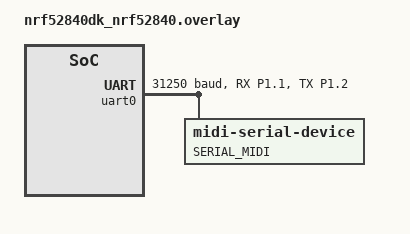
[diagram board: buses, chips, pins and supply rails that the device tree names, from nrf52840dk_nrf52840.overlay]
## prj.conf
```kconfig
# Enable the UART driver
CONFIG_UART_ASYNC_API=y
CONFIG_NRFX_UARTE0=y
CONFIG_SERIAL=y

CONFIG_GPIO=y

# Make sure printk is not printing to the UART console
CONFIG_CONSOLE=y
CONFIG_UART_CONSOLE=y


CONFIG_HEAP_MEM_POOL_SIZE=2048


CONFIG_BT=y
CONFIG_BT_ISO_SYNC_RECEIVER=y
CONFIG_LOG=y
CONFIG_BT_DEVICE_NAME="Test ISO Receive"

CONFIG_BT_ISO_MAX_CHAN=2


CONFIG_BT_CTLR_SYNC_ISO=y
CONFIG_BT_CTLR_SYNC_ISO_PDU_LEN_MAX=251
CONFIG_BT_CTLR_SYNC_ISO_STREAM_MAX=2
CONFIG_BT_CTLR_ISOAL_SINKS=2
CONFIG_BT_LL_SW_SPLIT=y

# This example requires more workqueue stack
CONFIG_SYSTEM_WORKQUEUE_STACK_SIZE=4096

# Config logger
CONFIG_LOG=y
CONFIG_USE_SEGGER_RTT=y
CONFIG_LOG_BACKEND_RTT=y
CONFIG_LOG_BACKEND_UART=n

CONFIG_MIDI=y
CONFIG_MIDI_SERIAL=y
CONFIG_MIDI_PARSER=y
```

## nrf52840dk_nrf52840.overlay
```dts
&pinctrl {
	uart0_default: uart0_default {
		group1 {
			psels = <NRF_PSEL(UART_RX, 1, 1)>;
			bias-pull-up;
		};
		group2 {
			psels = <NRF_PSEL(UART_TX, 1, 2)>;
		};
	};

	uart0_sleep: uart0_sleep {
		group1 {
			psels = <NRF_PSEL(UART_RX, 1, 1)>,
				<NRF_PSEL(UART_TX, 1, 2)>;
			low-power-enable;
		};
	};
};

&uart0 {
	current-speed = <31250>;
    pinctrl-0 = <&uart0_default>;
	pinctrl-1 = <&uart0_sleep>;
    midi_serial_device {
        label = "SERIAL_MIDI";
		compatible = "midi-serial-device";
        midi_serial_in_device{
            compatible = "midi-serial-in-device";
            label = "SERIAL_MIDI_IN";
        };
    
        midi_serial_out_device{
            compatible = "midi-serial-out-device";
            label = "SERIAL_MIDI_OUT";
            handle-timestamps;
        };
    };

};
```

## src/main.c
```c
/*
 * Copyright (c) 2021 Nordic Semiconductor ASA
 *
 * SPDX-License-Identifier: Apache-2.0
 */

#include <zephyr/device.h>
#include <zephyr/devicetree.h>
#include <zephyr/drivers/gpio.h>
#include <zephyr/bluetooth/bluetooth.h>
#include <zephyr/bluetooth/conn.h>
#include <zephyr/bluetooth/iso.h>
#include <zephyr/sys/byteorder.h>

#include <midi/midi.h>
#include <midi/midi_parser.h>

#include <zephyr/logging/log.h>

#define LOG_MODULE_NAME iso_receive_midi
LOG_MODULE_REGISTER(LOG_MODULE_NAME);

#define TIMEOUT_SYNC_CREATE K_SECONDS(10)
#define NAME_LEN            30

#define BT_LE_SCAN_CUSTOM BT_LE_SCAN_PARAM(BT_LE_SCAN_TYPE_ACTIVE, \
					   BT_LE_SCAN_OPT_NONE, \
					   BT_GAP_SCAN_FAST_INTERVAL, \
					   BT_GAP_SCAN_FAST_WINDOW)

#define PA_RETRY_COUNT 6

#define BIS_ISO_CHAN_COUNT 2

static bool         per_adv_found;
static bool         per_adv_lost;
static bt_addr_le_t per_addr;
static uint8_t      per_sid;
static uint32_t     per_interval_us;

static uint32_t     iso_recv_count;

static K_SEM_DEFINE(sem_per_adv, 0, 1);
static K_SEM_DEFINE(sem_per_sync, 0, 1);
static K_SEM_DEFINE(sem_per_sync_lost, 0, 1);
static K_SEM_DEFINE(sem_per_big_info, 0, 1);
static K_SEM_DEFINE(sem_big_sync, 0, BIS_ISO_CHAN_COUNT);
static K_SEM_DEFINE(sem_big_sync_lost, 0, BIS_ISO_CHAN_COUNT);

const struct device *serial_midi_out_dev;

DEFINE_MIDI_PARSER_SERIAL(serial_parser);

/* The devicetree node identifier for the "led0" alias. */
#define LED0_NODE DT_ALIAS(led0)

#if DT_NODE_HAS_STATUS(LED0_NODE, okay)
static const struct gpio_dt_spec led_gpio = GPIO_DT_SPEC_GET(LED0_NODE, gpios);
#define HAS_LED     1
#define BLINK_ONOFF K_MSEC(500)

static struct k_work_delayable blink_work;
static bool                    led_is_on;
static bool                    blink;

static void blink_timeout(struct k_work *work)
{
	if (!blink) {
		return;
	}

	led_is_on = !led_is_on;
	gpio_pin_set_dt(&led_gpio, (int)led_is_on);

	k_work_schedule(&blink_work, BLINK_ONOFF);
}
#endif


static int midi_serial_sent(const struct device *dev,
			  midi_msg_t *msg,
			  void *user_data)
{
	LOG_INF("MIDI SERIAL sent!");
	
	midi_msg_unref(msg);

	return 0;
}

static bool data_cb(struct bt_data *data, void *user_data)
{
	char *name = user_data;
	uint8_t len;

	switch (data->type) {
	case BT_DATA_NAME_SHORTENED:
	case BT_DATA_NAME_COMPLETE:
		len = MIN(data->data_len, NAME_LEN - 1);
		memcpy(name, data->data, len);
		name[len] = '\0';
		return false;
	default:
		return true;
	}
}

static const char *phy2str(uint8_t phy)
{
	switch (phy) {
	case 0: return "No packets";
	case BT_GAP_LE_PHY_1M: return "LE 1M";
	case BT_GAP_LE_PHY_2M: return "LE 2M";
	case BT_GAP_LE_PHY_CODED: return "LE Coded";
	default: return "Unknown";
	}
}

static void scan_recv(const struct bt_le_scan_recv_info *info,
		      struct net_buf_simple *buf)
{
	char le_addr[BT_ADDR_LE_STR_LEN];
	char name[NAME_LEN];

	(void)memset(name, 0, sizeof(name));

	bt_data_parse(buf, data_cb, name);

	bt_addr_le_to_str(info->addr, le_addr, sizeof(le_addr));
	LOG_INF("[DEVICE]: %s, AD evt type %u, Tx Pwr: %i, RSSI %i %s "
	       "C:%u S:%u D:%u SR:%u E:%u Prim: %s, Secn: %s, "
	       "Interval: 0x%04x (%u us), SID: %u\n",
	       le_addr, info->adv_type, info->tx_power, info->rssi, name,
	       (info->adv_props & BT_GAP_ADV_PROP_CONNECTABLE) != 0,
	       (info->adv_props & BT_GAP_ADV_PROP_SCANNABLE) != 0,
	       (info->adv_props & BT_GAP_ADV_PROP_DIRECTED) != 0,
	       (info->adv_props & BT_GAP_ADV_PROP_SCAN_RESPONSE) != 0,
	       (info->adv_props & BT_GAP_ADV_PROP_EXT_ADV) != 0,
	       phy2str(info->primary_phy), phy2str(info->secondary_phy),
	       info->interval, BT_CONN_INTERVAL_TO_US(info->interval), info->sid);

	if (!per_adv_found && info->interval) {
		per_adv_found = true;

		per_sid = info->sid;
		per_interval_us = BT_CONN_INTERVAL_TO_US(info->interval);
		bt_addr_le_copy(&per_addr, info->addr);

		k_sem_give(&sem_per_adv);
	}
}

static struct bt_le_scan_cb scan_callbacks = {
	.recv = scan_recv,
};

static void sync_cb(struct bt_le_per_adv_sync *sync,
		    struct bt_le_per_adv_sync_synced_info *info)
{
	char le_addr[BT_ADDR_LE_STR_LEN];

	bt_addr_le_to_str(info->addr, le_addr, sizeof(le_addr));

	LOG_INF("PER_ADV_SYNC[%u]: [DEVICE]: %s synced, "
	       "Interval 0x%04x (%u ms), PHY %s\n",
	       bt_le_per_adv_sync_get_index(sync), le_addr,
	       info->interval, info->interval * 5 / 4, phy2str(info->phy));

	k_sem_give(&sem_per_sync);
}

static void term_cb(struct bt_le_per_adv_sync *sync,
		    const struct bt_le_per_adv_sync_term_info *info)
{
	char le_addr[BT_ADDR_LE_STR_LEN];

	bt_addr_le_to_str(info->addr, le_addr, sizeof(le_addr));

	LOG_INF("PER_ADV_SYNC[%u]: [DEVICE]: %s sync terminated\n",
	       bt_le_per_adv_sync_get_index(sync), le_addr);

	per_adv_lost = true;
	k_sem_give(&sem_per_sync_lost);
}

static void recv_cb(struct bt_le_per_adv_sync *sync,
		    const struct bt_le_per_adv_sync_recv_info *info,
		    struct net_buf_simple *buf)
{
	char le_addr[BT_ADDR_LE_STR_LEN];
	char data_str[129];

	bt_addr_le_to_str(info->addr, le_addr, sizeof(le_addr));
	bin2hex(buf->data, buf->len, data_str, sizeof(data_str));

	LOG_INF("PER_ADV_SYNC[%u]: [DEVICE]: %s, tx_power %i, "
	       "RSSI %i, CTE %u, data length %u, data: %s\n",
	       bt_le_per_adv_sync_get_index(sync), le_addr, info->tx_power,
	       info->rssi, info->cte_type, buf->len, data_str);
}

static void biginfo_cb(struct bt_le_per_adv_sync *sync,
		       const struct bt_iso_biginfo *biginfo)
{
	char le_addr[BT_ADDR_LE_STR_LEN];

	bt_addr_le_to_str(biginfo->addr, le_addr, sizeof(le_addr));

	LOG_INF("BIG INFO[%u]: [DEVICE]: %s, sid 0x%02x, "
	       "num_bis %u, nse %u, interval 0x%04x (%u ms), "
	       "bn %u, pto %u, irc %u, max_pdu %u, "
	       "sdu_interval %u us, max_sdu %u, phy %s, "
	       "%s framing, %sencrypted\n",
	       bt_le_per_adv_sync_get_index(sync), le_addr, biginfo->sid,
	       biginfo->num_bis, biginfo->sub_evt_count,
	       biginfo->iso_interval,
	       (biginfo->iso_interval * 5 / 4),
	       biginfo->burst_number, biginfo->offset,
	       biginfo->rep_count, biginfo->max_pdu, biginfo->sdu_interval,
	       biginfo->max_sdu, phy2str(biginfo->phy),
	       biginfo->framing ? "with" : "without",
	       biginfo->encryption ? "" : "not ");


	k_sem_give(&sem_per_big_info);
}

static struct bt_le_per_adv_sync_cb sync_callbacks = {
	.synced = sync_cb,
	.term = term_cb,
	.recv = recv_cb,
	.biginfo = biginfo_cb,
};

static void iso_recv(struct bt_iso_chan *chan, const struct bt_iso_recv_info *info,
		struct net_buf *buf)
{
	char data_str[128];
	size_t str_len;
	uint32_t count = 0; /* only valid if the data is a counter */
	midi_msg_t * serial_msg;
	midi_msg_t * parsed_msg;
	// if (buf->len == sizeof(count)) {
	// 	count = sys_get_le32(buf->data);
	// 	if (IS_ENABLED(CONFIG_ISO_ALIGN_PRINT_INTERVALS)) {
	// 		iso_recv_count = count;
	// 	}
	// }

	// if ((iso_recv_count % CONFIG_ISO_PRINT_INTERVAL) == 0) {
	// 	str_len = bin2hex(buf->data, buf->len, data_str, sizeof(data_str));
	// 	LOG_INF("Incoming data channel %p flags 0x%x seq_num %u ts %u len %u: "
	// 	       "%s (counter value %u)\n", chan, info->flags, info->seq_num,
	// 	       info->ts, buf->len, data_str, count);
	// }
	LOG_HEXDUMP_INF(buf->data, buf->len, "data");
	for (size_t i = 0; i < buf->len; i++)
	{	
		serial_msg = midi_msg_alloc(NULL, 1);
		memcpy(serial_msg->data, (void*)(buf->data + i), 1);
		serial_msg->format = MIDI_FORMAT_1_0_SERIAL;
		serial_msg->len = 1;
		
		// serial_msg = midi_msg_alloc(serial_msg, 1);
		// memcpy(serail_msg->data, (void*)(buf->data + i), 1);
		LOG_INF("serial byte: %d", *serial_msg->data); 	
		parsed_msg = midi_parse_serial(serial_msg, &serial_parser);
		midi_msg_unref(serial_msg);
		if (parsed_msg)
		{
			midi_send(serial_midi_out_dev, parsed_msg);
			parsed_msg = NULL;
		}
	}
	
	iso_recv_count++;
}

static void iso_connected(struct bt_iso_chan *chan)
{
	LOG_INF("ISO Channel %p connected\n", chan);
	k_sem_give(&sem_big_sync);
}

static void iso_disconnected(struct bt_iso_chan *chan, uint8_t reason)
{
	LOG_INF("ISO Channel %p disconnected with reason 0x%02x\n",
	       chan, reason);

	if (reason != BT_HCI_ERR_OP_CANCELLED_BY_HOST) {
		k_sem_give(&sem_big_sync_lost);
	}
}

static struct bt_iso_chan_ops iso_ops = {
	.recv		= iso_recv,
	.connected	= iso_connected,
	.disconnected	= iso_disconnected,
};

static struct bt_iso_chan_io_qos iso_rx_qos[BIS_ISO_CHAN_COUNT];

static struct bt_iso_chan_qos bis_iso_qos[] = {
	{ .rx = &iso_rx_qos[0], },
	{ .rx = &iso_rx_qos[1], },
};

static struct bt_iso_chan bis_iso_chan[] = {
	{ .ops = &iso_ops,
	  .qos = &bis_iso_qos[0], },
	{ .ops = &iso_ops,
	  .qos = &bis_iso_qos[1], },
};

static struct bt_iso_chan *bis[] = {
	&bis_iso_chan[0],
	&bis_iso_chan[1],
};

static struct bt_iso_big_sync_param big_sync_param = {
	.bis_channels = bis,
	.num_bis = BIS_ISO_CHAN_COUNT,
	.bis_bitfield = (BIT_MASK(BIS_ISO_CHAN_COUNT) << 1),
	.mse = 1,
	.sync_timeout = 100, /* in 10 ms units */
};


const struct device * get_port(const char* name, 
			midi_transfer cb, void *user_data)
{
	int err;
	const struct device * dev;
	dev = device_get_binding(name);
	if (!dev) {
		LOG_ERR("Can not get device: %s", name);
	}
	err = midi_callback_set(dev, cb, user_data);
	if (err != 0) {
		LOG_ERR("Can not set callbacks for device: %s", name);
	}
	return dev;
}

int main(void)
{
	struct bt_le_per_adv_sync_param sync_create_param;
	struct bt_le_per_adv_sync *sync;
	struct bt_iso_big *big;
	uint32_t sem_timeout_us;
	int err;

	iso_recv_count = 0;

	LOG_INF("Starting Synchronized Receiver Demo\n");

	serial_midi_out_dev = get_port("SERIAL_MIDI_OUT", 
		midi_serial_sent, NULL);

#if defined(HAS_LED)
	LOG_INF("Get reference to LED device...");

	if (!device_is_ready(led_gpio.port)) {
		LOG_ERR("LED gpio device not ready.\n");
		return 0;
	}
	LOG_INF("done.\n");

	LOG_INF("Configure GPIO pin...");
	err = gpio_pin_configure_dt(&led_gpio, GPIO_OUTPUT_ACTIVE);
	if (err) {
		return 0;
	}
	LOG_INF("done.\n");

	k_work_init_delayable(&blink_work, blink_timeout);
#endif /* HAS_LED */

	/* Initialize the Bluetooth Subsystem */
	err = bt_enable(NULL);
	if (err) {
		LOG_ERR("Bluetooth init failed (err %d)\n", err);
		return 0;
	}

	LOG_INF("Scan callbacks register...");
	bt_le_scan_cb_register(&scan_callbacks);
	LOG_INF("success.\n");

	LOG_INF("Periodic Advertising callbacks register...");
	bt_le_per_adv_sync_cb_register(&sync_callbacks);
	LOG_INF("Success.\n");

	do {
		per_adv_lost = false;

		LOG_INF("Start scanning...");
		err = bt_le_scan_start(BT_LE_SCAN_CUSTOM, NULL);
		if (err) {
			LOG_ERR("failed (err %d)\n", err);
			return 0;
		}
		LOG_INF("success.\n");

#if defined(HAS_LED)
		LOG_INF("Start blinking LED...\n");
		led_is_on = false;
		blink = true;
		gpio_pin_set_dt(&led_gpio, (int)led_is_on);
		k_work_reschedule(&blink_work, BLINK_ONOFF);
#endif /* HAS_LED */

		LOG_INF("Waiting for periodic advertising...\n");
		per_adv_found = false;
		err = k_sem_take(&sem_per_adv, K_FOREVER);
		if (err) {
			LOG_ERR("failed (err %d)\n", err);
			return 0;
		}
		LOG_INF("Found periodic advertising.\n");

		LOG_INF("Stop scanning...");
		err = bt_le_scan_stop();
		if (err) {
			LOG_ERR("failed (err %d)\n", err);
			return 0;
		}
		LOG_INF("success.\n");

		LOG_INF("Creating Periodic Advertising Sync...");
		bt_addr_le_copy(&sync_create_param.addr, &per_addr);
		sync_create_param.options = 0;
		sync_create_param.sid = per_sid;
		sync_create_param.skip = 0;
		/* Multiple PA interval with retry count and convert to unit of 10 ms */
		sync_create_param.timeout = (per_interval_us * PA_RETRY_COUNT) /
						(10 * USEC_PER_MSEC);
		sem_timeout_us = per_interval_us * PA_RETRY_COUNT;
		err = bt_le_per_adv_sync_create(&sync_create_param, &sync);
		if (err) {
			LOG_ERR("failed (err %d)\n", err);
			return 0;
		}
		LOG_INF("success.\n");

		LOG_INF("Waiting for periodic sync...\n");
		err = k_sem_take(&sem_per_sync, K_USEC(sem_timeout_us));
		if (err) {
			LOG_ERR("failed (err %d)\n", err);

			LOG_INF("Deleting Periodic Advertising Sync...");
			err = bt_le_per_adv_sync_delete(sync);
			if (err) {
				LOG_ERR("failed (err %d)\n", err);
				return 0;
			}
			continue;
		}
		LOG_INF("Periodic sync established.\n");

		LOG_INF("Waiting for BIG info...\n");
		err = k_sem_take(&sem_per_big_info, K_USEC(sem_timeout_us));
		if (err) {
			LOG_ERR("failed (err %d)\n", err);

			if (per_adv_lost) {
				continue;
			}

			LOG_ERR("Deleting Periodic Advertising Sync...");
			err = bt_le_per_adv_sync_delete(sync);
			if (err) {
				LOG_ERR("failed (err %d)\n", err);
				return 0;
			}
			continue;
		}
		LOG_INF("Periodic sync established.\n");

big_sync_create:
		LOG_INF("Create BIG Sync...\n");
		err = bt_iso_big_sync(sync, &big_sync_param, &big);
		if (err) {
			LOG_ERR("failed (err %d)\n", err);
			return 0;
		}
		LOG_INF("success.\n");

		for (uint8_t chan = 0U; chan < BIS_ISO_CHAN_COUNT; chan++) {
			LOG_INF("Waiting for BIG sync chan %u...\n", chan);
			err = k_sem_take(&sem_big_sync, TIMEOUT_SYNC_CREATE);
			if (err) {
				break;
			}
			LOG_INF("BIG sync chan %u successful.\n", chan);
		}
		if (err) {
			LOG_ERR("failed (err %d)\n", err);

			LOG_INF("BIG Sync Terminate...");
			err = bt_iso_big_terminate(big);
			if (err) {
				LOG_ERR("failed (err %d)\n", err);
				return 0;
			}
			LOG_INF("done.\n");

			goto per_sync_lost_check;
		}
		LOG_INF("BIG sync established.\n");

#if defined(HAS_LED)
		LOG_INF("Stop blinking LED.\n");
		blink = false;
		/* If this fails, we'll exit early in the handler because blink
		 * is false.
		 */
		k_work_cancel_delayable(&blink_work);

		/* Keep LED on */
		led_is_on = true;
		gpio_pin_set_dt(&led_gpio, (int)led_is_on);
#endif /* HAS_LED */

		for (uint8_t chan = 0U; chan < BIS_ISO_CHAN_COUNT; chan++) {
			LOG_INF("Waiting for BIG sync lost chan %u...\n", chan);
			err = k_sem_take(&sem_big_sync_lost, K_FOREVER);
			if (err) {
				LOG_ERR("failed (err %d)\n", err);
				return 0;
			}
			LOG_INF("BIG sync lost chan %u.\n", chan);
		}
		LOG_INF("BIG sync lost.\n");

per_sync_lost_check:
		LOG_INF("Check for periodic sync lost...\n");
		err = k_sem_take(&sem_per_sync_lost, K_NO_WAIT);
		if (err) {
			/* Periodic Sync active, go back to creating BIG Sync */
			goto big_sync_create;
		}
		LOG_INF("Periodic sync lost.\n");
	} while (true);
}
```
